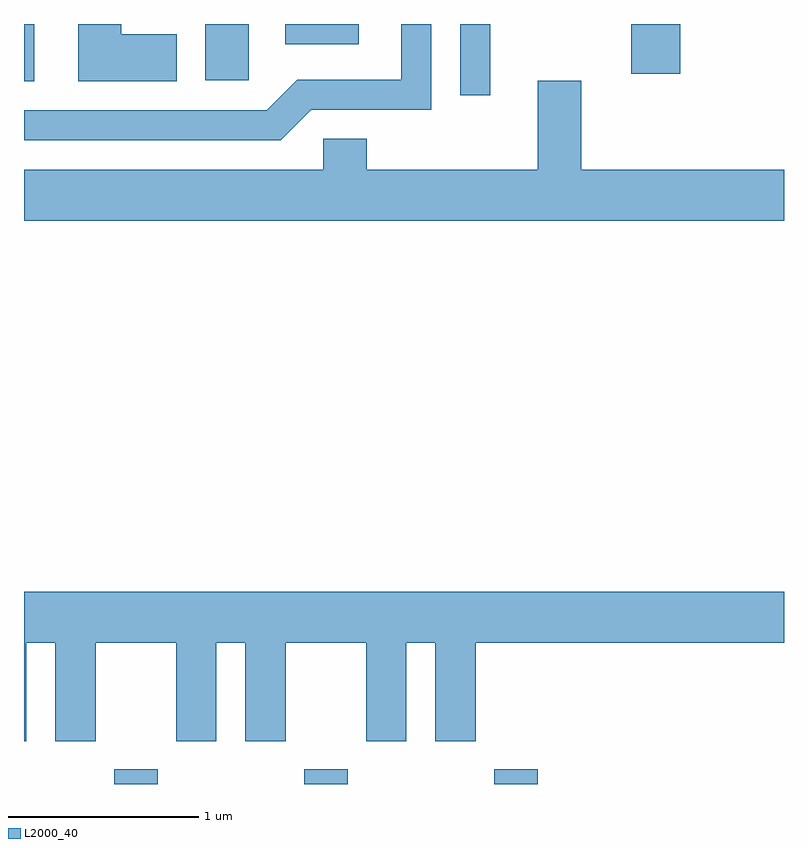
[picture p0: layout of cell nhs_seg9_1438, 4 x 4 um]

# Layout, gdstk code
import gdstk
lib = gdstk.Library(unit=1e-6, precision=1e-09)
def R(c, l, rs):  # rectangles x0, y0, x1, y1
    for r in rs: c.add(gdstk.rectangle(r[:2], r[2:], *l))
def A(c, l, x, y, w, h, nx, ny, dx, dy):  # array of equal rectangles
    R(c, l, [(x+i*dx, y+j*dy, x+i*dx+w, y+j*dy+h) for i in range(nx) for j in range(ny)])
def P(c, l, *ps):  # polygons
    for p in ps: c.add(gdstk.Polygon(p, *l))
L2000_40 = (2000, 40)

nhs_seg9_1438 = lib.new_cell('nhs_seg9_1438')
A(nhs_seg9_1438, L2000_40, 228.086, 1964.432, 0.228, 0.077, 3, 1, 1, 0)
R(nhs_seg9_1438, L2000_40, [(229.906,1968.058,230.064,1968.432), (227.611,1968.131,227.664,1968.432), (228.566,1968.136,228.794,1968.432), (230.806,1968.171,231.064,1968.432), (228.986,1968.326,229.374,1968.432)])
P(nhs_seg9_1438, L2000_40, [(228.414,1968.379),(228.124,1968.379),(228.124,1968.432),(227.896,1968.432),(227.896,1968.131),(228.414,1968.131)],
  [(229.122,1967.981),(229.754,1967.981),(229.754,1968.432),(229.596,1968.432),(229.596,1968.139),(229.049,1968.139),(228.889,1967.979),(227.611,1967.979),(227.611,1967.821),(228.962,1967.821)],
  [(231.611,1967.664),(230.544,1967.664),(230.544,1968.134),(230.316,1968.134),(230.316,1967.664),(229.414,1967.664),(229.414,1967.829),(229.186,1967.829),(229.186,1967.664),(227.611,1967.664),(227.611,1967.396),(231.611,1967.396)],
  [(227.624,1965.176),(227.776,1965.176),(227.776,1964.656),(227.989,1964.656),(227.989,1965.176),(228.411,1965.176),(228.411,1964.656),(228.624,1964.656),(228.624,1965.176),(228.776,1965.176),(228.776,1964.656),(228.989,1964.656),(228.989,1965.176),(229.411,1965.176),(229.411,1964.656),(229.624,1964.656),(229.624,1965.176),(229.776,1965.176),(229.776,1964.656),(229.989,1964.656),(229.989,1965.176),(231.611,1965.176),(231.611,1965.444),(227.611,1965.444),(227.611,1964.656),(227.624,1964.656)])

lib.write_gds('nhs_seg9_1438.gds')
